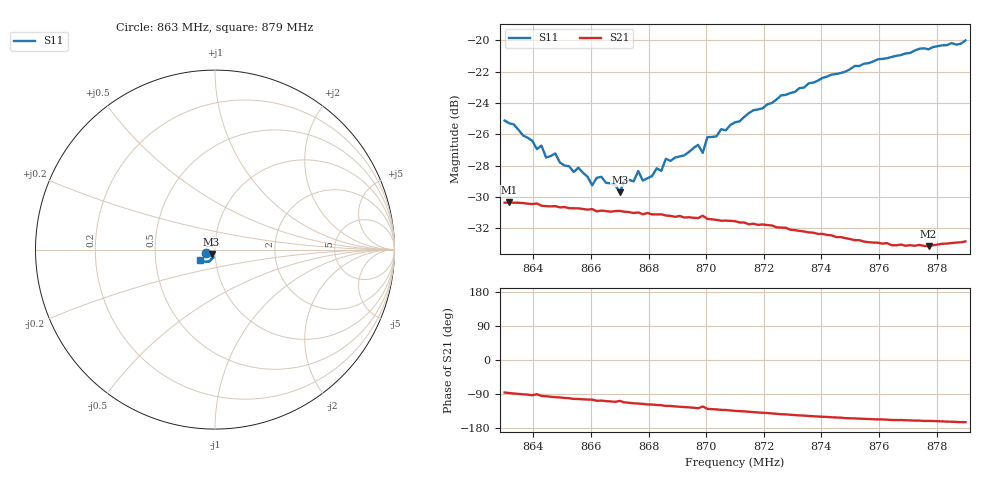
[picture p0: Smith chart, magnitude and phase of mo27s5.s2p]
# HZ S RI R 50
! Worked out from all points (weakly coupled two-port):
!   101 points, 863 MHz to 879 MHz, reference 50 ohm
!   highest |S21| = -30.35 dB at 863.16 MHz (marker M1); lowest = -33.1 dB at 877.72 MHz (marker M2)
!   lowest |S11| = -29.7 dB at 867 MHz (marker M3), VSWR 1.07, Z = 48 - j2.53 ohm
!   |S11| at or under -10 dB: start of sweep to end of sweep
!   S12 and S22 are empty: the file has one direction only
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8.63e8  -0.0511 -0.0215  0.00226 -0.0302  0 0  0 0
8.6316e8  -0.0502 -0.0208  0.00153 -0.0303  0 0  0 0
8.6412e8  -0.0407 -0.0191  -0.000171 -0.0301  0 0  0 0
8.6428e8  -0.041 -0.021  -0.0025 -0.0295  0 0  0 0
8.6444e8  -0.038 -0.0185  -0.00294 -0.0294  0 0  0 0
8.6476e8  -0.0379 -0.0215  -0.00417 -0.0293  0 0  0 0
8.6572e8  -0.0294 -0.0237  -0.00688 -0.0281  0 0  0 0
8.6604e8  -0.0262 -0.0223  -0.00725 -0.028  0 0  0 0
8.6636e8  -0.0279 -0.0238  -0.00841 -0.0273  0 0  0 0
8.67e8  -0.0195 -0.0263  -0.0088 -0.0272  0 0  0 0
8.6764e8  -0.0212 -0.0318  -0.0119 -0.0256  0 0  0 0
8.678e8  -0.0189 -0.0302  -0.0121 -0.025  0 0  0 0
8.6844e8  -0.017 -0.0343  -0.0136 -0.0243  0 0  0 0
8.686e8  -0.0182 -0.0377  -0.0143 -0.0236  0 0  0 0
8.6972e8  -0.0161 -0.0435  -0.0164 -0.0215  0 0  0 0
8.6988e8  -0.00693 -0.0432  -0.0149 -0.0231  0 0  0 0
8.7004e8  -0.017 -0.046  -0.0168 -0.021  0 0  0 0
8.71e8  -0.0184 -0.0515  -0.0185 -0.0189  0 0  0 0
8.7372e8  -0.0322 -0.0658  -0.0207 -0.0127  0 0  0 0
8.7644e8  -0.0581 -0.0667  -0.0206 -0.00819  0 0  0 0
8.7772e8  -0.0697 -0.0625  -0.0208 -0.00724  0 0  0 0
8.79e8  -0.0833 -0.0552  -0.0219 -0.00623  0 0  0 0
